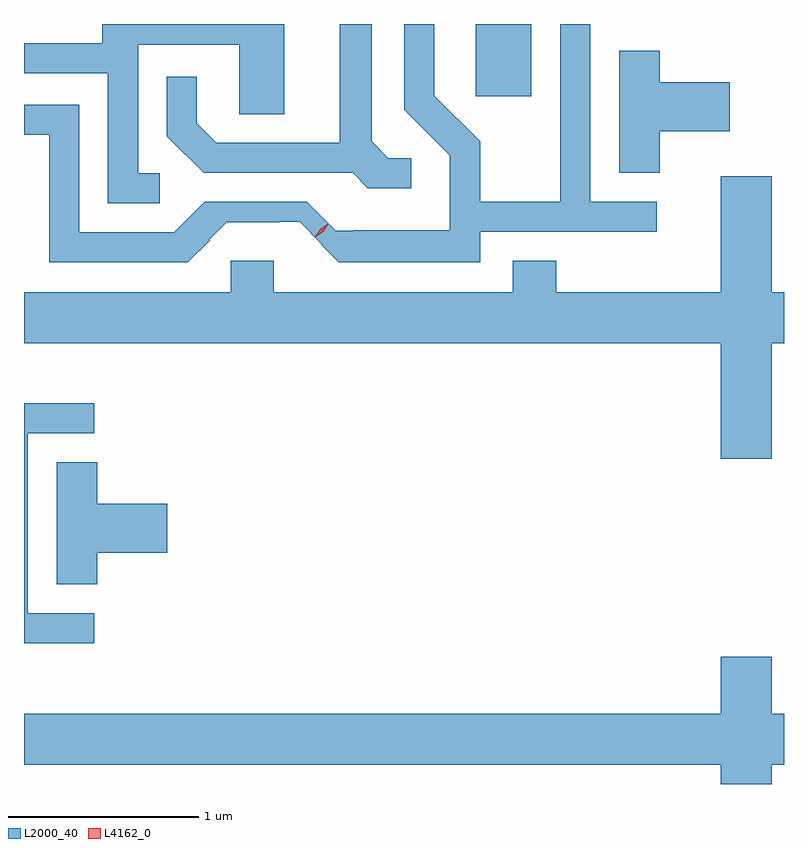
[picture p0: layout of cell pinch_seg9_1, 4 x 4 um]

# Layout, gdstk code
import gdstk
lib = gdstk.Library(unit=1e-6, precision=1e-09)
def R(c, l, rs):  # rectangles x0, y0, x1, y1
    for r in rs: c.add(gdstk.rectangle(r[:2], r[2:], *l))
def P(c, l, *ps):  # polygons
    for p in ps: c.add(gdstk.Polygon(p, *l))
L2000_40 = (2000, 40)
L4162_0 = (4162, 0)

pinch_seg9_1 = lib.new_cell('pinch_seg9_1')
R(pinch_seg9_1, L2000_40, [(1911.716,1995.336,1912.009,1995.715)])
P(pinch_seg9_1, L2000_40, [(1910.053,1994.929),(1909.939,1994.929),(1909.939,1995.606),(1910.471,1995.606),(1910.471,1995.241),(1910.709,1995.241),(1910.709,1995.715),(1909.751,1995.715),(1909.751,1995.614),(1909.339,1995.614),(1909.339,1995.456),(1909.781,1995.456),(1909.781,1994.771),(1910.053,1994.771)],
  [(1911.378,1995.009),(1911.257,1995.009),(1911.169,1995.097),(1911.169,1995.715),(1911.001,1995.715),(1911.001,1995.089),(1910.352,1995.089),(1910.249,1995.192),(1910.249,1995.438),(1910.091,1995.438),(1910.091,1995.124),(1910.284,1994.931),(1911.069,1994.931),(1911.149,1994.851),(1911.378,1994.851)],
  [(1910.318,1994.577),(1910.315,1994.58),(1910.406,1994.671),(1910.686,1994.671),(1910.686,1994.673),(1910.789,1994.673),(1910.906,1994.556),(1910.903,1994.553),(1910.995,1994.461),(1911.739,1994.461),(1911.739,1994.621),(1912.668,1994.621),(1912.668,1994.779),(1912.319,1994.779),(1912.319,1995.715),(1912.161,1995.715),(1912.161,1994.779),(1911.739,1994.779),(1911.739,1995.097),(1911.499,1995.337),(1911.499,1995.715),(1911.341,1995.715),(1911.341,1995.264),(1911.581,1995.024),(1911.581,1994.629),(1911.075,1994.629),(1911.075,1994.626),(1910.98,1994.626),(1910.827,1994.779),(1910.289,1994.779),(1910.129,1994.619),(1909.629,1994.619),(1909.629,1995.289),(1909.339,1995.289),(1909.339,1995.131),(1909.471,1995.131),(1909.471,1994.461),(1910.202,1994.461)],
  [(1912.684,1995.151),(1913.054,1995.151),(1913.054,1995.409),(1912.684,1995.409),(1912.684,1995.574),(1912.471,1995.574),(1912.471,1994.931),(1912.684,1994.931)],
  [(1913.274,1994.036),(1913.339,1994.036),(1913.339,1994.304),(1913.274,1994.304),(1913.274,1994.914),(1913.006,1994.914),(1913.006,1994.304),(1912.139,1994.304),(1912.139,1994.469),(1911.911,1994.469),(1911.911,1994.304),(1910.654,1994.304),(1910.654,1994.469),(1910.426,1994.469),(1910.426,1994.304),(1909.339,1994.304),(1909.339,1994.036),(1913.006,1994.036),(1913.006,1993.426),(1913.274,1993.426)],
  [(1909.708,1992.614),(1909.359,1992.614),(1909.359,1993.561),(1909.708,1993.561),(1909.708,1993.719),(1909.339,1993.719),(1909.339,1992.456),(1909.708,1992.456)],
  [(1909.724,1992.931),(1910.094,1992.931),(1910.094,1993.189),(1909.724,1993.189),(1909.724,1993.409),(1909.511,1993.409),(1909.511,1992.766),(1909.724,1992.766)],
  [(1913.274,1991.816),(1913.339,1991.816),(1913.339,1992.084),(1913.274,1992.084),(1913.274,1992.384),(1913.006,1992.384),(1913.006,1992.084),(1909.339,1992.084),(1909.339,1991.816),(1913.006,1991.816),(1913.006,1991.715),(1913.274,1991.715)])
P(pinch_seg9_1, L4162_0, [(1910.87,1994.592),(1910.87,1994.593),(1910.898,1994.635),(1910.94,1994.664),(1910.941,1994.664),(1910.941,1994.663),(1910.913,1994.621),(1910.871,1994.592)],
  [(1910.874,1994.596),(1910.874,1994.597),(1910.898,1994.635),(1910.936,1994.66),(1910.937,1994.66),(1910.937,1994.659),(1910.913,1994.621),(1910.875,1994.596)])

lib.write_gds('pinch_seg9_1.gds')
